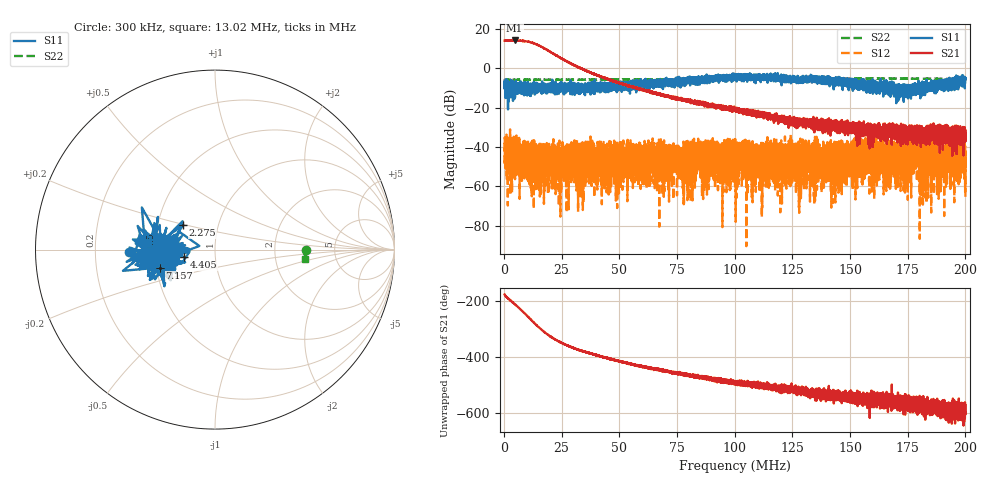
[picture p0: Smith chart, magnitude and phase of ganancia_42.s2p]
# Hz S DB R 50
! CMT, M5065, 19127446, 24.2.4/2
! Date: 10/29/2024 12:39:31 PM
! Data: Format (Calibration Info)
! Freq	S11:dB/Ang(F2)	S21:dB/Ang(F2)	S12:dB/Ang(F2)	S22:dB/Ang(F2)
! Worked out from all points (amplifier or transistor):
!   9000 points, 300 kHz to 200 MHz, reference 50 ohm
!   highest |S21| = 14.0 dB at 4.627 MHz (marker M1)
!   |S21| within 3 dB of that: start of sweep to 15.9 MHz (the widest 1 of 2)
!   unconditionally stable (mu >= 1): start of sweep to end of sweep
!   at 33.59 MHz: K = 33.43, MAG = 1.6 dB, |S12| = -39.8 dB
!   at 100.2 MHz: K = 675.92, MAG = -17.5 dB, |S12| = -48.9 dB
!   at 200 MHz: K = 28214.03, MAG = -31.3 dB, |S12| = -66.7 dB
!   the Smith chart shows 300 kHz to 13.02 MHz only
!   S11 on the Smith chart (normalised r, x): 300 kHz: 0.35, -0.01; 2.275 MHz: 0.67, +0.19; 4.405 MHz: 0.70, -0.06; 7.157 MHz: 0.52, -0.12; 13.02 MHz: 0.45, +0.04
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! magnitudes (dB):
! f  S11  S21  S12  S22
! 300 kHz  -6.3  14.0  -48.6  -5.9
! 2.275 MHz  -13.0  13.9  -51.4  -6.0
! 4.405 MHz  -15.0  13.9  -39.9  -5.9
! 4.627 MHz  -12.3  14.0  -44.4  -5.9
! 7.157 MHz  -9.8  13.9  -47.6  -6.0
! 13.02 MHz  -8.5  12.5  -41.9  -5.9
! 33.59 MHz  -10.3  -0.2  -39.8  -5.9
! 66.87 MHz  -7.1  -12.6  -42.0  -5.7
! 76.9 MHz  -6.7  -16.1  -46.3  -5.7
! 79.39 MHz  -6.0  -16.4  -59.5  -5.7
! 84.76 MHz  -7.5  -17.8  -44.3  -5.7
! 87.16 MHz  -6.6  -18.8  -60.5  -5.7
! 89.93 MHz  -5.3  -19.2  -45.7  -5.6
! 100.2 MHz  -3.8  -21.3  -48.9  -5.6
! 133.4 MHz  -4.6  -26.1  -45.9  -5.4
! 166.7 MHz  -11.5  -35.0  -60.1  -5.3
! 176.1 MHz  -8.8  -31.6  -48.0  -5.3
! 178.7 MHz  -12.2  -30.8  -44.6  -5.4
! 180.8 MHz  -8.7  -32.4  -45.3  -5.4
! 198.6 MHz  -5.8  -31.1  -39.3  -5.5
! 199 MHz  -6.6  -35.3  -53.0  -5.5
! 200 MHz  -5.2  -34.3  -66.7  -5.5
